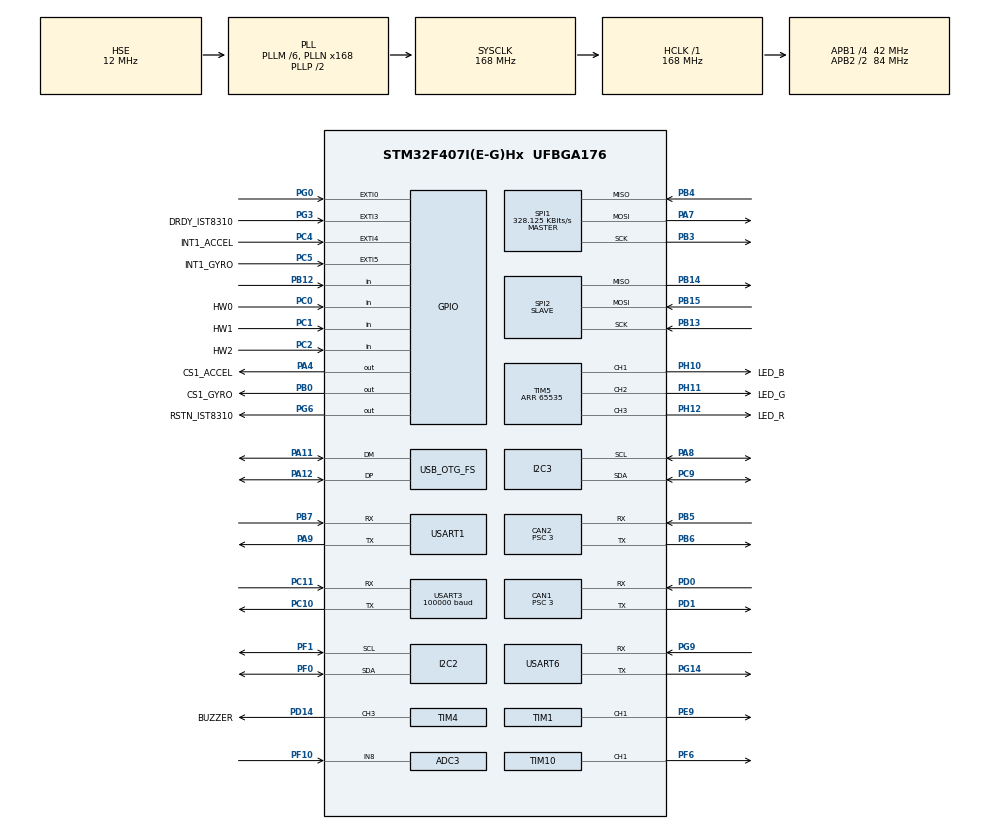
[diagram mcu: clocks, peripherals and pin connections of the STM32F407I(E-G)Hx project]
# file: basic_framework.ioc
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ADC1.Channel-0\#ChannelRegularConversion=ADC_CHANNEL_TEMPSENSOR
ADC1.ClockPrescaler=ADC_CLOCK_SYNC_PCLK_DIV6
ADC1.NbrOfConversionFlag=1
ADC1.Rank-0\#ChannelRegularConversion=1
ADC1.SamplingTime-0\#ChannelRegularConversion=ADC_SAMPLETIME_3CYCLES
ADC1.master=1
ADC3.Channel-0\#ChannelRegularConversion=ADC_CHANNEL_8
ADC3.ClockPrescaler=ADC_CLOCK_SYNC_PCLK_DIV6
ADC3.NbrOfConversionFlag=1
ADC3.Rank-0\#ChannelRegularConversion=1
ADC3.SamplingTime-0\#ChannelRegularConversion=ADC_SAMPLETIME_3CYCLES
CAN1.BS1=CAN_BS1_10TQ
CAN1.BS2=CAN_BS2_3TQ
CAN1.CalculateBaudRate=1000000
CAN1.CalculateTimeBit=1000
CAN1.CalculateTimeQuantum=71.42857142857143
CAN1.Prescaler=3
CAN2.BS1=CAN_BS1_10TQ
CAN2.BS2=CAN_BS2_3TQ
CAN2.CalculateBaudRate=1000000
CAN2.CalculateTimeBit=1000
CAN2.CalculateTimeQuantum=71.42857142857143
CAN2.Prescaler=3
Dma.Request0=USART3_RX
Dma.Request1=SPI1_RX
Dma.Request2=SPI1_TX
Dma.Request3=USART1_RX
Dma.Request4=USART1_TX
Dma.Request5=USART6_RX
Dma.Request6=USART6_TX
Dma.SPI1_RX.1.Direction=DMA_PERIPH_TO_MEMORY
Dma.SPI1_RX.1.FIFOMode=DMA_FIFOMODE_DISABLE
Dma.SPI1_RX.1.Instance=DMA2_Stream2
Dma.SPI1_RX.1.MemDataAlignment=DMA_MDATAALIGN_BYTE
Dma.SPI1_RX.1.MemInc=DMA_MINC_ENABLE
Dma.SPI1_RX.1.Mode=DMA_NORMAL
Dma.SPI1_RX.1.PeriphDataAlignment=DMA_PDATAALIGN_BYTE
Dma.SPI1_RX.1.PeriphInc=DMA_PINC_DISABLE
Dma.SPI1_RX.1.Priority=DMA_PRIORITY_VERY_HIGH
Dma.SPI1_TX.2.Direction=DMA_MEMORY_TO_PERIPH
Dma.SPI1_TX.2.FIFOMode=DMA_FIFOMODE_DISABLE
Dma.SPI1_TX.2.Instance=DMA2_Stream3
Dma.SPI1_TX.2.MemDataAlignment=DMA_MDATAALIGN_BYTE
Dma.SPI1_TX.2.MemInc=DMA_MINC_ENABLE
Dma.SPI1_TX.2.Mode=DMA_NORMAL
Dma.SPI1_TX.2.PeriphDataAlignment=DMA_PDATAALIGN_BYTE
Dma.SPI1_TX.2.PeriphInc=DMA_PINC_DISABLE
Dma.SPI1_TX.2.Priority=DMA_PRIORITY_HIGH
Dma.USART1_RX.3.Direction=DMA_PERIPH_TO_MEMORY
Dma.USART1_RX.3.FIFOMode=DMA_FIFOMODE_DISABLE
Dma.USART1_RX.3.Instance=DMA2_Stream5
Dma.USART1_RX.3.MemDataAlignment=DMA_MDATAALIGN_BYTE
Dma.USART1_RX.3.MemInc=DMA_MINC_ENABLE
Dma.USART1_RX.3.Mode=DMA_NORMAL
Dma.USART1_RX.3.PeriphDataAlignment=DMA_PDATAALIGN_BYTE
Dma.USART1_RX.3.PeriphInc=DMA_PINC_DISABLE
Dma.USART1_RX.3.Priority=DMA_PRIORITY_LOW
Dma.USART1_TX.4.Direction=DMA_MEMORY_TO_PERIPH
Dma.USART1_TX.4.FIFOMode=DMA_FIFOMODE_DISABLE
Dma.USART1_TX.4.Instance=DMA2_Stream7
Dma.USART1_TX.4.MemDataAlignment=DMA_MDATAALIGN_BYTE
Dma.USART1_TX.4.MemInc=DMA_MINC_ENABLE
Dma.USART1_TX.4.Mode=DMA_NORMAL
Dma.USART1_TX.4.PeriphDataAlignment=DMA_PDATAALIGN_BYTE
Dma.USART1_TX.4.PeriphInc=DMA_PINC_DISABLE
Dma.USART1_TX.4.Priority=DMA_PRIORITY_LOW
Dma.USART3_RX.0.Direction=DMA_PERIPH_TO_MEMORY
Dma.USART3_RX.0.FIFOMode=DMA_FIFOMODE_DISABLE
Dma.USART3_RX.0.Instance=DMA1_Stream1
Dma.USART3_RX.0.MemDataAlignment=DMA_MDATAALIGN_BYTE
Dma.USART3_RX.0.MemInc=DMA_MINC_ENABLE
Dma.USART3_RX.0.Mode=DMA_NORMAL
Dma.USART3_RX.0.PeriphDataAlignment=DMA_PDATAALIGN_BYTE
Dma.USART3_RX.0.PeriphInc=DMA_PINC_DISABLE
Dma.USART3_RX.0.Priority=DMA_PRIORITY_VERY_HIGH
Dma.USART6_RX.5.Direction=DMA_PERIPH_TO_MEMORY
Dma.USART6_RX.5.FIFOMode=DMA_FIFOMODE_DISABLE
Dma.USART6_RX.5.Instance=DMA2_Stream1
Dma.USART6_RX.5.MemDataAlignment=DMA_MDATAALIGN_BYTE
Dma.USART6_RX.5.MemInc=DMA_MINC_ENABLE
Dma.USART6_RX.5.Mode=DMA_NORMAL
Dma.USART6_RX.5.PeriphDataAlignment=DMA_PDATAALIGN_BYTE
Dma.USART6_RX.5.PeriphInc=DMA_PINC_DISABLE
Dma.USART6_RX.5.Priority=DMA_PRIORITY_LOW
Dma.USART6_TX.6.Direction=DMA_MEMORY_TO_PERIPH
Dma.USART6_TX.6.FIFOMode=DMA_FIFOMODE_DISABLE
Dma.USART6_TX.6.Instance=DMA2_Stream6
Dma.USART6_TX.6.MemDataAlignment=DMA_MDATAALIGN_BYTE
Dma.USART6_TX.6.MemInc=DMA_MINC_ENABLE
Dma.USART6_TX.6.Mode=DMA_NORMAL
Dma.USART6_TX.6.PeriphDataAlignment=DMA_PDATAALIGN_BYTE
Dma.USART6_TX.6.PeriphInc=DMA_PINC_DISABLE
Dma.USART6_TX.6.Priority=DMA_PRIORITY_LOW
FREERTOS.INCLUDE_vTaskDelayUntil=1
FREERTOS.INCLUDE_xTaskGetHandle=1
FREERTOS.Tasks01=defaultTask,0,128,StartDefaultTask,Default,NULL,Dynamic,NULL,NULL
I2C2.I2C_Mode=I2C_Fast
I2C3.I2C_Mode=I2C_Fast
Mcu.Family=STM32F4
Mcu.Name=STM32F407I(E-G)Hx
Mcu.Package=UFBGA176
NVIC.CAN1_RX0_IRQn=true\:6\:0\:true\:false\:true\:true\:true\:true\:true
NVIC.CAN2_RX0_IRQn=true\:5\:0\:false\:false\:true\:true\:true\:true\:true
NVIC.DMA1_Stream1_IRQn=true\:5\:0\:false\:false\:true\:true\:false\:true\:true
NVIC.DMA2_Stream1_IRQn=true\:5\:0\:false\:false\:true\:true\:false\:true\:true
NVIC.DMA2_Stream2_IRQn=true\:5\:0\:false\:false\:false\:false\:false\:true\:true
NVIC.DMA2_Stream3_IRQn=true\:5\:0\:false\:false\:true\:true\:false\:true\:true
NVIC.DMA2_Stream5_IRQn=true\:5\:0\:false\:false\:true\:true\:false\:true\:true
NVIC.DMA2_Stream6_IRQn=true\:5\:0\:false\:false\:true\:true\:false\:true\:true
NVIC.DMA2_Stream7_IRQn=true\:5\:0\:false\:false\:true\:true\:false\:true\:true
NVIC.EXTI0_IRQn=true\:6\:0\:true\:false\:true\:true\:true\:true\:true
NVIC.EXTI3_IRQn=true\:5\:0\:false\:false\:true\:true\:true\:true\:true
NVIC.EXTI4_IRQn=true\:5\:0\:false\:false\:true\:true\:true\:true\:true
NVIC.EXTI9_5_IRQn=true\:5\:0\:false\:false\:true\:true\:true\:true\:true
NVIC.OTG_FS_IRQn=true\:5\:0\:false\:false\:true\:true\:false\:true\:true
NVIC.PriorityGroup=NVIC_PRIORITYGROUP_4
NVIC.TIM7_IRQn=true\:15\:0\:false\:false\:true\:false\:false\:true\:true
NVIC.TimeBase=TIM7_IRQn
NVIC.TimeBaseIP=TIM7
NVIC.USART1_IRQn=true\:5\:0\:false\:false\:true\:true\:true\:true\:true
NVIC.USART3_IRQn=true\:5\:0\:false\:false\:false\:true\:true\:true\:true
NVIC.USART6_IRQn=true\:5\:0\:false\:false\:true\:true\:true\:true\:true
PA11.Mode=Device_Only
PA11.Signal=USB_OTG_FS_DM
PA12.Mode=Device_Only
PA12.Signal=USB_OTG_FS_DP
PA13.Mode=Serial_Wire
PA13.Signal=SYS_JTMS-SWDIO
PA14.Mode=Serial_Wire
PA14.Signal=SYS_JTCK-SWCLK
PA4.GPIO_Label=CS1_ACCEL
PA4.GPIO_PuPd=GPIO_PULLUP
PA4.GPIO_Speed=GPIO_SPEED_FREQ_HIGH
PA4.PinState=GPIO_PIN_SET
PA4.Signal=GPIO_Output
PA7.GPIO_PuPd=GPIO_PULLUP
PA7.Mode=Full_Duplex_Master
PA7.Signal=SPI1_MOSI
PA8.Mode=I2C
PA8.Signal=I2C3_SCL
PA9.Mode=Asynchronous
PA9.Signal=USART1_TX
PB0.GPIO_Label=CS1_GYRO
PB0.GPIO_PuPd=GPIO_PULLUP
PB0.GPIO_Speed=GPIO_SPEED_FREQ_HIGH
PB0.PinState=GPIO_PIN_SET
PB0.Signal=GPIO_Output
PB12.GPIO_PuPd=GPIO_PULLUP
PB12.Signal=GPIO_Input
PB13.GPIO_PuPd=GPIO_PULLUP
PB13.Mode=Full_Duplex_Slave
PB13.Signal=SPI2_SCK
PB14.GPIO_PuPd=GPIO_PULLUP
PB14.Mode=Full_Duplex_Slave
PB14.Signal=SPI2_MISO
PB15.GPIO_PuPd=GPIO_PULLUP
PB15.Mode=Full_Duplex_Slave
PB15.Signal=SPI2_MOSI
PB3.GPIO_PuPd=GPIO_PULLUP
PB3.Mode=Full_Duplex_Master
PB3.Signal=SPI1_SCK
PB4.GPIO_PuPd=GPIO_PULLUP
PB4.Mode=Full_Duplex_Master
PB4.Signal=SPI1_MISO
PB5.Mode=CAN_Activate
PB5.Signal=CAN2_RX
PB6.Mode=CAN_Activate
PB6.Signal=CAN2_TX
PB7.Mode=Asynchronous
PB7.Signal=USART1_RX
PC0.GPIO_Label=HW0
PC0.Signal=GPIO_Input
PC1.GPIO_Label=HW1
PC1.Signal=GPIO_Input
PC10.Mode=Asynchronous
PC10.Signal=USART3_TX
PC11.Mode=Asynchronous
PC11.Signal=USART3_RX
PC2.GPIO_Label=HW2
PC2.Signal=GPIO_Input
PC4.GPIO_Label=INT1_ACCEL
PC4.GPIO_ModeDefaultEXTI=GPIO_MODE_IT_FALLING
PC4.GPIO_PuPd=GPIO_PULLUP
PC4.Signal=GPXTI4
PC5.GPIO_Label=INT1_GYRO
PC5.GPIO_ModeDefaultEXTI=GPIO_MODE_IT_FALLING
PC5.GPIO_PuPd=GPIO_PULLUP
PC5.Signal=GPXTI5
PC9.Mode=I2C
PC9.Signal=I2C3_SDA
PD0.Mode=CAN_Activate
PD0.Signal=CAN1_RX
PD1.Mode=CAN_Activate
PD1.Signal=CAN1_TX
PD14.GPIO_Label=BUZZER
PD14.GPIO_PuPd=GPIO_PULLUP
PD14.GPIO_Speed=GPIO_SPEED_FREQ_VERY_HIGH
PD14.Signal=S_TIM4_CH3
PE9.Signal=S_TIM1_CH1
PF0.GPIO_Pu=GPIO_PULLUP
PF0.Mode=I2C
PF0.Signal=I2C2_SDA
PF1.GPIO_Pu=GPIO_PULLUP
PF1.Mode=I2C
PF1.Signal=I2C2_SCL
PF10.Mode=IN8
PF10.Signal=ADC3_IN8
PF6.GPIO_PuPd=GPIO_PULLUP
PF6.GPIO_Speed=GPIO_SPEED_FREQ_HIGH
PF6.Signal=S_TIM10_CH1
PG0.GPIO_PuPd=GPIO_PULLUP
PG0.Signal=GPXTI0
PG14.Mode=Asynchronous
PG14.Signal=USART6_TX
PG3.GPIO_Label=DRDY_IST8310
PG3.GPIO_PuPd=GPIO_PULLUP
PG3.Signal=GPXTI3
PG6.GPIO_Label=RSTN_IST8310
PG6.GPIO_PuPd=GPIO_PULLUP
PG6.GPIO_Speed=GPIO_SPEED_FREQ_MEDIUM
PG6.PinState=GPIO_PIN_SET
PG6.Signal=GPIO_Output
PG9.Mode=Asynchronous
PG9.Signal=USART6_RX
PH0-OSC_IN.Mode=HSE-External-Oscillator
PH0-OSC_IN.Signal=RCC_OSC_IN
PH1-OSC_OUT.Mode=HSE-External-Oscillator
PH1-OSC_OUT.Signal=RCC_OSC_OUT
PH10.GPIO_Label=LED_B
PH10.GPIO_PuPd=GPIO_PULLUP
PH10.GPIO_Speed=GPIO_SPEED_FREQ_HIGH
PH10.Signal=S_TIM5_CH1
PH11.GPIO_Label=LED_G
PH11.GPIO_PuPd=GPIO_PULLUP
PH11.GPIO_Speed=GPIO_SPEED_FREQ_HIGH
PH11.Signal=S_TIM5_CH2
PH12.GPIO_Label=LED_R
PH12.GPIO_PuPd=GPIO_PULLUP
PH12.GPIO_Speed=GPIO_SPEED_FREQ_HIGH
PH12.Signal=S_TIM5_CH3
ProjectManager.HeapSize=0x200
ProjectManager.StackSize=0x400
ProjectManager.TargetToolchain=MDK-ARM V5
RCC.48MHZClocksFreq_Value=48000000
RCC.AHBFreq_Value=168000000
RCC.APB1CLKDivider=RCC_HCLK_DIV4
RCC.APB1Freq_Value=42000000
RCC.APB1TimFreq_Value=84000000
RCC.APB2CLKDivider=RCC_HCLK_DIV2
RCC.APB2Freq_Value=84000000
RCC.APB2TimFreq_Value=168000000
RCC.CortexFreq_Value=168000000
RCC.HCLKFreq_Value=168000000
RCC.HSE_VALUE=12000000
RCC.HSI_VALUE=16000000
RCC.LSE_VALUE=32768
RCC.PLLM=6
RCC.PLLN=168
RCC.PLLQ=7
RCC.SYSCLKFreq_VALUE=168000000
RCC.SYSCLKSource=RCC_SYSCLKSOURCE_PLLCLK
RCC.VCOOutputFreq_Value=336000000
RTC.AsynchPrediv=124
SH.S_TIM10_CH1.0=TIM10_CH1,PWM Generation1 CH1
SH.S_TIM1_CH1.0=TIM1_CH1,PWM Generation1 CH1
SH.S_TIM4_CH3.0=TIM4_CH3,PWM Generation3 CH3
SH.S_TIM5_CH1.0=TIM5_CH1,PWM Generation1 CH1
SH.S_TIM5_CH2.0=TIM5_CH2,PWM Generation2 CH2
SH.S_TIM5_CH3.0=TIM5_CH3,PWM Generation3 CH3
SPI1.BaudRatePrescaler=SPI_BAUDRATEPRESCALER_256
SPI1.CLKPhase=SPI_PHASE_2EDGE
SPI1.CLKPolarity=SPI_POLARITY_HIGH
SPI1.CalculateBaudRate=328.125 KBits/s
SPI1.Direction=SPI_DIRECTION_2LINES
SPI1.Mode=SPI_MODE_MASTER
SPI1.VirtualType=VM_MASTER
SPI2.CLKPhase=SPI_PHASE_2EDGE
SPI2.CLKPolarity=SPI_POLARITY_HIGH
SPI2.Direction=SPI_DIRECTION_2LINES
SPI2.Mode=SPI_MODE_SLAVE
SPI2.VirtualType=VM_SLAVE
TIM1.Channel-PWM\ Generation1\ CH1=TIM_CHANNEL_1
TIM1.Period=19999
TIM1.Prescaler=167
TIM1.Pulse-PWM\ Generation1\ CH1=5000
TIM10.Channel=TIM_CHANNEL_1
TIM10.Period=4999
TIM2.Period=65535
TIM2.Prescaler=83
TIM4.Channel-PWM\ Generation3\ CH3=TIM_CHANNEL_3
TIM4.Period=20999
TIM4.Prescaler=0
TIM5.Channel-PWM\ Generation1\ CH1=TIM_CHANNEL_1
TIM5.Channel-PWM\ Generation2\ CH2=TIM_CHANNEL_2
TIM5.Channel-PWM\ Generation3\ CH3=TIM_CHANNEL_3
TIM5.Period=65535
USART1.VirtualMode=VM_ASYNC
USART3.BaudRate=100000
USART3.Parity=PARITY_EVEN
USART3.VirtualMode=VM_ASYNC
USART3.WordLength=WORDLENGTH_9B
USART6.VirtualMode=VM_ASYNC
USB_DEVICE.CLASS_NAME_FS=CDC
USB_DEVICE.VirtualMode-CDC_FS=Cdc
USB_DEVICE.VirtualModeFS=Cdc_FS
USB_OTG_FS.VirtualMode=Device_Only
VP_ADC1_TempSens_Input.Mode=IN-TempSens
VP_FREERTOS_VS_CMSIS_V1.Mode=CMSIS_V1
VP_RTC_VS_RTC_Activate.Mode=RTC_Enabled
VP_SYS_VS_tim7.Mode=TIM7
VP_TIM10_VS_ClockSourceINT.Mode=Enable_Timer
VP_TIM1_VS_ClockSourceINT.Mode=Internal
VP_TIM2_VS_ClockSourceINT.Mode=Internal
VP_TIM4_VS_ClockSourceINT.Mode=Internal
VP_TIM5_VS_ClockSourceINT.Mode=Internal
VP_USB_DEVICE_VS_USB_DEVICE_CDC_FS.Mode=CDC_FS
board=custom

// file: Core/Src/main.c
/* USER CODE BEGIN Header */
/**
  ******************************************************************************
  * @file           : main.c
  * @brief          : Main program body
  ******************************************************************************
  * @attention
  *
  * Copyright (c) 2023 STMicroelectronics.
  * All rights reserved.
  *
  * This software is licensed under terms that can be found in the LICENSE file
  * in the root directory of this software component.
  * If no LICENSE file comes with this software, it is provided AS-IS.
  *
  ******************************************************************************
  */
/* USER CODE END Header */
#include "main.h"
#include "cmsis_os.h"
#include "adc.h"
#include "can.h"
#include "dma.h"
#include "i2c.h"
#include "rtc.h"
#include "spi.h"
#include "tim.h"
#include "usart.h"
#include "usb_device.h"
#include "gpio.h"

/* USER CODE BEGIN Includes */
#include "bsp_can.h"
#include "bsp_dwt.h"
#include "bsp_usart.h"
#include "bsp_pwm.h"
#include "remote_control.h"
#include "BMI088driver.h"
#include "imu.h"
#include "led.h"
#include "MyAntenne_L1S.h"
#include "task_center.h"
#include "calibrate.h"
/* USER CODE END Includes */

void SystemClock_Config(void);
void MX_FREERTOS_Init(void);

int main(void)
{

  /* MCU Configuration--------------------------------------------------------*/

  /* Reset of all peripherals, Initializes the Flash interface and the Systick. */
  HAL_Init();

  /* Configure the system clock */
  SystemClock_Config();

  /* Initialize all configured peripherals */
  MX_GPIO_Init();
  MX_DMA_Init();
  MX_TIM1_Init();
  MX_USART3_UART_Init();
  MX_TIM5_Init();
  MX_SPI1_Init();
  MX_CAN1_Init();
  MX_CAN2_Init();
  MX_TIM10_Init();
  MX_I2C3_Init();
  MX_SPI2_Init();
  MX_ADC1_Init();
  MX_ADC3_Init();
  MX_RTC_Init();
  MX_TIM4_Init();
  MX_I2C2_Init();
  MX_TIM2_Init();
  MX_USART1_UART_Init();
  MX_USART6_UART_Init();
  /* USER CODE BEGIN 2 */
  //蜂鸣器定时器
  HAL_TIM_Base_Start(&htim4);
  PWMStart(&htim4,TIM_CHANNEL_3);
  //LED定时器
  HAL_TIM_Base_Start(&htim5);
  PWMStart(&htim5,TIM_CHANNEL_1);
  PWMStart(&htim5,TIM_CHANNEL_2);
  PWMStart(&htim5,TIM_CHANNEL_3);
  //陀螺仪温度定时器
  HAL_TIM_Base_Start(&htim10);
  PWMStart(&htim10,TIM_CHANNEL_1);
  PWMStart(&htim1,TIM_CHANNEL_1);

  //读取Flash内的校准值（暂时仅使用imu部分数据来校准零漂）
  cali_param_init();
  CANFilterInit();
  //机器人初始化
  RobotInit();
  /* USER CODE END 2 */

  /* Call init function for freertos objects (in freertos.c) */
  MX_FREERTOS_Init();

  /* Start scheduler */
  osKernelStart();

  /* We should never get here as control is now taken by the scheduler */
  /* Infinite loop */
  while (1)
  {

  }
}

void SystemClock_Config(void)
{
  RCC_OscInitTypeDef RCC_OscInitStruct = {0};
  RCC_ClkInitTypeDef RCC_ClkInitStruct = {0};

  /** Configure the main internal regulator output voltage
  */
  __HAL_RCC_PWR_CLK_ENABLE();
  __HAL_PWR_VOLTAGESCALING_CONFIG(PWR_REGULATOR_VOLTAGE_SCALE1);

  /** Initializes the RCC Oscillators according to the specified parameters
  * in the RCC_OscInitTypeDef structure.
  */
  RCC_OscInitStruct.OscillatorType = RCC_OSCILLATORTYPE_LSI|RCC_OSCILLATORTYPE_HSE;
  RCC_OscInitStruct.HSEState = RCC_HSE_ON;
  RCC_OscInitStruct.LSIState = RCC_LSI_ON;
  RCC_OscInitStruct.PLL.PLLState = RCC_PLL_ON;
  RCC_OscInitStruct.PLL.PLLSource = RCC_PLLSOURCE_HSE;
  RCC_OscInitStruct.PLL.PLLM = 6;
  RCC_OscInitStruct.PLL.PLLN = 168;
  RCC_OscInitStruct.PLL.PLLP = RCC_PLLP_DIV2;
  RCC_OscInitStruct.PLL.PLLQ = 7;
  if (HAL_RCC_OscConfig(&RCC_OscInitStruct) != HAL_OK)
  {
    Error_Handler();
  }

  /** Initializes the CPU, AHB and APB buses clocks
  */
  RCC_ClkInitStruct.ClockType = RCC_CLOCKTYPE_HCLK|RCC_CLOCKTYPE_SYSCLK
                              |RCC_CLOCKTYPE_PCLK1|RCC_CLOCKTYPE_PCLK2;
  RCC_ClkInitStruct.SYSCLKSource = RCC_SYSCLKSOURCE_PLLCLK;
  RCC_ClkInitStruct.AHBCLKDivider = RCC_SYSCLK_DIV1;
  RCC_ClkInitStruct.APB1CLKDivider = RCC_HCLK_DIV4;
  RCC_ClkInitStruct.APB2CLKDivider = RCC_HCLK_DIV2;

  if (HAL_RCC_ClockConfig(&RCC_ClkInitStruct, FLASH_LATENCY_5) != HAL_OK)
  {
    Error_Handler();
  }
}

void HAL_TIM_PeriodElapsedCallback(TIM_HandleTypeDef *htim)
{
  if (htim->Instance == TIM7) {
    HAL_IncTick();
  }
}

void Error_Handler(void)
{
  __disable_irq();
  while (1)
  {
  }
}

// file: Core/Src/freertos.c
/* USER CODE BEGIN Header */
/**
  ******************************************************************************
  * File Name          : freertos.c
  * Description        : Code for freertos applications
  ******************************************************************************
  * @attention
  *
  * Copyright (c) 2023 STMicroelectronics.
  * All rights reserved.
  *
  * This software is licensed under terms that can be found in the LICENSE file
  * in the root directory of this software component.
  * If no LICENSE file comes with this software, it is provided AS-IS.
  *
  ******************************************************************************
  */
/* USER CODE END Header */

#include "FreeRTOS.h"
#include "task.h"
#include "main.h"
#include "cmsis_os.h"

/* USER CODE BEGIN Includes */
#include "can_send.h"
#include "gimbal.h"
#include "system.h"
#include "task_center.h"
/* USER CODE END Includes */

/* USER CODE BEGIN Variables */
osThreadId UisendHandle;
osThreadId defaultTaskHandle;
//add thread
osThreadId CANSendTaskHandle;
osThreadId GimbalTaskHandle;
osThreadId SystemHandle;
osThreadId imuTaskHandle;
osThreadId MainTaskHandle;
osThreadId CommuniTaskHandle;
osThreadId UI_Send;
osThreadId caliHandle;

osThreadId GimbalOrderHandle;
/* USER CODE END Variables */
osThreadId defaultTaskHandle;

void StartDefaultTask(void const * argument);

extern void MX_USB_DEVICE_Init(void);
void MX_FREERTOS_Init(void); /* (MISRA C 2004 rule 8.1) */

/* GetIdleTaskMemory prototype (linked to static allocation support) */
void vApplicationGetIdleTaskMemory( StaticTask_t **ppxIdleTaskTCBBuffer, StackType_t **ppxIdleTaskStackBuffer, uint32_t *pulIdleTaskStackSize );

/* USER CODE BEGIN GET_IDLE_TASK_MEMORY */
static StaticTask_t xIdleTaskTCBBuffer;
static StackType_t xIdleStack[configMINIMAL_STACK_SIZE];

void vApplicationGetIdleTaskMemory( StaticTask_t **ppxIdleTaskTCBBuffer, StackType_t **ppxIdleTaskStackBuffer, uint32_t *pulIdleTaskStackSize )
{
  *ppxIdleTaskTCBBuffer = &xIdleTaskTCBBuffer;
  *ppxIdleTaskStackBuffer = &xIdleStack[0];
  *pulIdleTaskStackSize = configMINIMAL_STACK_SIZE;
  /* place for user code */
}
/* USER CODE END GET_IDLE_TASK_MEMORY */

void MX_FREERTOS_Init(void) {

  /* Create the thread(s) */
  /* definition and creation of defaultTask */
  osThreadDef(defaultTask, StartDefaultTask, osPriorityNormal, 0, 128);
  defaultTaskHandle = osThreadCreate(osThread(defaultTask), NULL);

  /* USER CODE BEGIN RTOS_THREADS */
  /* add threads, ... */
//	osThreadDef(SYSTEM, SystemTask, osPriorityHigh, 0, 256);
//  SystemHandle = osThreadCreate(osThread(SYSTEM), NULL);

	osThreadDef(CANTask, MessageSendTask, osPriorityHigh, 0, 256);
  CANSendTaskHandle = osThreadCreate(osThread(CANTask), NULL);

//	osThreadDef(GimbalOrderTask, GimbalSendTask, osPriorityHigh, 0, 256);
//  GimbalOrderHandle = osThreadCreate(osThread(GimbalOrderTask), NULL);

	osThreadDef(imuTask, INSTask, osPriorityRealtime, 0, 1024);
  imuTaskHandle = osThreadCreate(osThread(imuTask), NULL);

	osThreadDef(main_thread, MainTask, osPriorityAboveNormal, 0, 1024);
  MainTaskHandle = osThreadCreate(osThread(main_thread), NULL);

	osThreadDef(communicateTask, CommuniTask, osPriorityHigh, 0, 128);
  CommuniTaskHandle = osThreadCreate(osThread(communicateTask), NULL);

	osThreadDef(UI_Send, UiTask, osPriorityNormal, 0, 256);
	UisendHandle = osThreadCreate(osThread(UI_Send), NULL);

//	osThreadDef(cali, CalibrateTask, osPriorityAboveNormal, 0, 512);
//  caliHandle = osThreadCreate(osThread(cali), NULL);
  /* USER CODE END RTOS_THREADS */

}

void StartDefaultTask(void const * argument)
{
  /* init code for USB_DEVICE */
  MX_USB_DEVICE_Init();
  /* USER CODE BEGIN StartDefaultTask */
  /* Infinite loop */
   osThreadTerminate(NULL); // ������ú��л�ռ��cpu
  /* USER CODE END StartDefaultTask */
}
